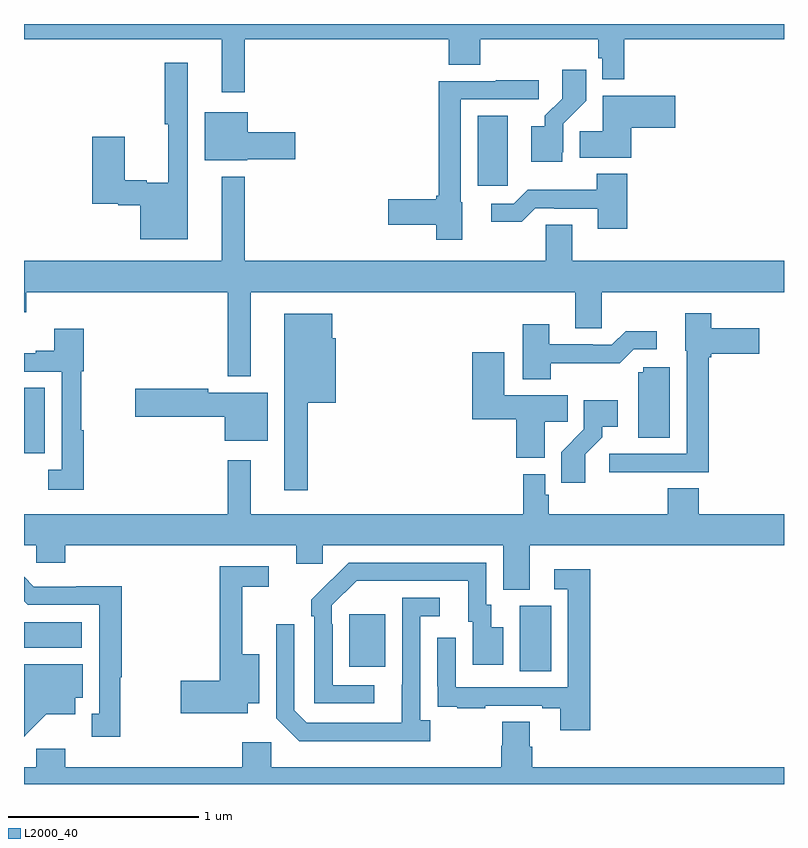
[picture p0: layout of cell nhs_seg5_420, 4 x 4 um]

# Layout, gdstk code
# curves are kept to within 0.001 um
import gdstk
lib = gdstk.Library(unit=1e-6, precision=1e-09)
def R(c, l, rs):  # rectangles x0, y0, x1, y1
    for r in rs: c.add(gdstk.rectangle(r[:2], r[2:], *l))
def P(c, l, *ps):  # polygons
    for p in ps: c.add(gdstk.Polygon(p, *l))
L2000_40 = (2000, 40)

nhs_seg5_420 = lib.new_cell('nhs_seg5_420')
R(nhs_seg5_420, L2000_40, [(139.61,893.392,139.774,893.736), (138.713,893.417,138.901,893.692), (137,893.516,137.305,893.65), (137,894.541,137.11,894.884), (139.388,895.947,139.546,896.317)])
P(nhs_seg5_420, L2000_40, [(137,896.72),(138.041,896.72),(138.041,896.439),(138.163,896.439),(138.163,896.72),(139.235,896.72),(139.235,896.584),(139.4,896.584),(139.4,896.72),(140.023,896.72),(140.023,896.619),(140.043,896.619),(140.043,896.507),(140.159,896.507),(140.159,896.72),(141,896.72),(141,896.799),(137,896.799)],
  [(137.863,896.596),(137.742,896.596),(137.742,896.271),(137.759,896.271),(137.759,895.963),(137.645,895.963),(137.645,895.976),(137.53,895.976),(137.53,896.206),(137.36,896.206),(137.36,895.853),(137.496,895.853),(137.496,895.846),(137.612,895.846),(137.612,895.667),(137.863,895.667)],
  [(139.834,896.124),(139.839,896.124),(139.839,896.275),(139.958,896.394),(139.958,896.557),(139.833,896.557),(139.833,896.405),(139.742,896.315),(139.742,896.26),(139.67,896.26),(139.67,896.075),(139.834,896.075)],
  [(139.306,895.86),(139.299,895.86),(139.299,896.403),(139.708,896.403),(139.708,896.502),(139.483,896.502),(139.483,896.499),(139.183,896.499),(139.183,895.895),(139.17,895.895),(139.17,895.877),(138.918,895.877),(138.918,895.742),(139.17,895.742),(139.17,895.664),(139.306,895.664)],
  [(140.195,896.252),(140.428,896.252),(140.428,896.422),(140.045,896.422),(140.045,896.234),(139.924,896.234),(139.924,896.096),(140.195,896.096)],
  [(138.174,896.087),(138.427,896.087),(138.427,896.229),(138.178,896.229),(138.178,896.335),(137.951,896.335),(137.951,896.081),(138.174,896.081)],
  [(140.174,896.011),(140.014,896.011),(140.014,895.927),(139.651,895.927),(139.578,895.854),(139.458,895.854),(139.458,895.757),(139.619,895.757),(139.692,895.83),(139.792,895.83),(139.792,895.827),(140.021,895.827),(140.021,895.722),(140.174,895.722)],
  [(138.193,895.388),(139.901,895.388),(139.901,895.198),(140.04,895.198),(140.04,895.388),(141,895.388),(141,895.552),(139.885,895.552),(139.885,895.742),(139.746,895.742),(139.746,895.552),(138.163,895.552),(138.163,895.996),(138.041,895.996),(138.041,895.552),(137,895.552),(137,895.282),(137.012,895.282),(137.012,895.388),(138.072,895.388),(138.072,894.944),(138.193,894.944)],
  [(140.303,894.441),(140.603,894.441),(140.603,895.046),(140.616,895.046),(140.616,895.064),(140.869,895.064),(140.869,895.198),(140.616,895.198),(140.616,895.276),(140.48,895.276),(140.48,895.08),(140.487,895.08),(140.487,894.537),(140.079,894.537),(140.079,894.439),(140.303,894.439)],
  [(138.493,894.806),(138.64,894.806),(138.64,895.146),(138.622,895.146),(138.622,895.273),(138.371,895.273),(138.371,894.345),(138.493,894.345)],
  [(139.773,895.014),(140.135,895.013),(140.208,895.086),(140.329,895.086),(140.329,895.183),(140.167,895.183),(140.094,895.11),(139.994,895.11),(139.994,895.113),(139.765,895.113),(139.765,895.219),(139.625,895.219),(139.625,894.929),(139.773,894.929)],
  [(137.315,894.66),(137.3,894.66),(137.3,894.972),(137.315,894.972),(137.315,895.195),(137.159,895.195),(137.159,895.078),(137.063,895.078),(137.063,895.065),(137,895.065),(137,894.969),(137.199,894.969),(137.199,894.453),(137.127,894.453),(137.127,894.348),(137.315,894.348)],
  [(139.741,894.706),(139.862,894.706),(139.862,894.844),(139.528,894.844),(139.528,895.072),(139.358,895.072),(139.358,894.719),(139.592,894.719),(139.592,894.515),(139.741,894.515)],
  [(140.398,894.993),(140.259,894.993),(140.259,894.966),(140.234,894.966),(140.234,894.622),(140.398,894.622)],
  [(138.283,894.859),(137.97,894.859),(137.97,894.878),(137.586,894.878),(137.586,894.731),(138.056,894.731),(138.056,894.605),(138.283,894.605)],
  [(139.954,894.535),(140.044,894.625),(140.044,894.68),(140.125,894.68),(140.125,894.82),(139.947,894.82),(139.947,894.665),(139.828,894.546),(139.828,894.384),(139.954,894.384)],
  [(139.663,894.056),(141,894.056),(141,894.22),(140.552,894.22),(140.552,894.356),(140.387,894.356),(140.387,894.22),(139.763,894.22),(139.763,894.321),(139.743,894.321),(139.743,894.43),(139.627,894.43),(139.627,894.22),(138.193,894.22),(138.193,894.502),(138.072,894.502),(138.072,894.22),(137,894.22),(137,894.056),(137.064,894.056),(137.064,893.963),(137.216,893.963),(137.216,894.056),(138.434,894.056),(138.434,893.958),(138.573,893.958),(138.573,894.056),(139.523,894.056),(139.523,893.821),(139.663,893.821)],
  [(138.844,893.319),(138.624,893.319),(138.624,893.639),(138.621,893.639),(138.621,893.739),(138.75,893.868),(139.337,893.868),(139.337,893.652),(139.361,893.652),(139.361,893.427),(139.522,893.427),(139.522,893.623),(139.459,893.623),(139.459,893.742),(139.434,893.742),(139.434,893.964),(138.71,893.964),(138.513,893.769),(138.513,893.681),(138.528,893.681),(138.528,893.223),(138.844,893.223)],
  [(138.178,893.225),(138.238,893.225),(138.238,893.482),(138.149,893.482),(138.149,893.838),(138.289,893.838),(138.289,893.946),(138.031,893.946),(138.031,893.342),(137.826,893.342),(137.826,893.171),(138.178,893.171)],
  [(139.979,893.929),(139.791,893.929),(139.791,893.823),(139.863,893.823),(139.863,893.307),(139.272,893.307),(139.272,893.569),(139.176,893.569),(139.176,893.314),(139.177,893.314),(139.177,893.205),(139.279,893.205),(139.279,893.199),(139.427,893.199),(139.427,893.211),(139.727,893.211),(139.727,893.199),(139.823,893.199),(139.823,893.082),(139.979,893.082)],
  [(137.507,893.361),(137.515,893.361),(137.515,893.84),(137.274,893.84),(137.274,893.838),(137.052,893.838),(137,893.89),(137,893.761),(137.019,893.742),(137.396,893.742),(137.396,893.169),(137.357,893.169),(137.357,893.049),(137.507,893.049)],
  [(139.138,893.134),(139.086,893.134),(139.086,893.682),(139.189,893.682),(139.189,893.778),(138.99,893.778),(138.989,893.121),(138.489,893.121),(138.423,893.187),(138.423,893.641),(138.327,893.641),(138.327,893.145),(138.448,893.024),(139.138,893.024)],
  [(137.014,893.063),(137.117,893.165),(137.269,893.165),(137.269,893.252),(137.308,893.252),(137.308,893.428),(137,893.428),(137,893.049)],
  [(141,892.888),(139.676,892.888),(139.676,892.994),(139.663,892.994),(139.663,893.126),(139.516,893.126),(139.516,893.001),(139.511,893.001),(139.511,892.888),(138.3,892.888),(138.3,893.02),(138.149,893.02),(138.149,892.888),(137.216,892.888),(137.216,892.984),(137.064,892.984),(137.064,892.888),(137,892.888),(137,892.799),(141,892.799)])

lib.write_gds('nhs_seg5_420.gds')
